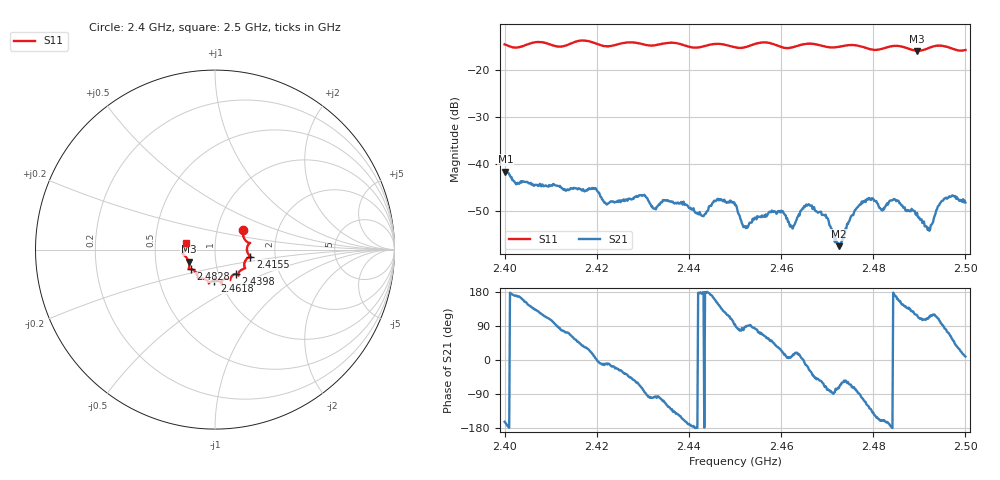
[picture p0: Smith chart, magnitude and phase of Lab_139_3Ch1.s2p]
# Hz S RI R 50
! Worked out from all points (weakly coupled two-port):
!   601 points, 2.4 GHz to 2.5 GHz, reference 50 ohm
!   highest |S21| = -41.61 dB at 2.4002 GHz (marker M1); lowest = -57.5 dB at 2.4725 GHz (marker M2)
!   lowest |S11| = -15.9 dB at 2.4895 GHz (marker M3), VSWR 1.38, Z = 37 - j5.04 ohm
!   |S11| at or under -10 dB: start of sweep to end of sweep
!   S12 and S22 are empty: the file has one direction only
!   S11 on the Smith chart (normalised r, x): 2.4 GHz: 1.33, +0.29; 2.4155 GHz: 1.49, -0.12; 2.4398 GHz: 1.21, -0.34; 2.4618 GHz: 0.94, -0.33; 2.4828 GHz: 0.74, -0.17; 2.5 GHz: 0.72, +0.06
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2.4e9  0.1548 0.1067  -0.0079 -0.00241  0 0  0 0
2.400167e9  0.1546 0.1043  -0.00804 -0.0021  0 0  0 0
2.4155e9  0.1975 -0.0396  0.00327 0.00442  0 0  0 0
2.416667e9  0.2022 -0.0429  0.00407 0.00335  0 0  0 0
2.433333e9  0.1301 -0.1342  -0.000394 -0.00359  0 0  0 0
2.439833e9  0.1153 -0.136  -0.00345 -0.000655  0 0  0 0
2.443e9  0.0888 -0.1547  -0.00279 6.68e-05  0 0  0 0
2.445833e9  0.0845 -0.1706  -0.00368 0.00164  0 0  0 0
2.45e9  0.065 -0.1626  -0.000248 0.00364  0 0  0 0
2.452167e9  0.043 -0.1699  9.05e-05 0.00216  0 0  0 0
2.458e9  0.0367 -0.1882  0.00203 0.00246  0 0  0 0
2.461833e9  -0.00354 -0.1724  0.00222 0.00029  0 0  0 0
2.466667e9  -0.0346 -0.1878  0.00297 -0.00205  0 0  0 0
2.469833e9  -0.0463 -0.171  0.000781 -0.00256  0 0  0 0
2.4725e9  -0.0756 -0.16  0.000351 -0.00128  0 0  0 0
2.477667e9  -0.098 -0.1475  -0.000748 -0.00376  0 0  0 0
2.482833e9  -0.136 -0.1085  -0.00355 -0.000966  0 0  0 0
2.483333e9  -0.1398 -0.1084  -0.00377 -0.000821  0 0  0 0
2.4895e9  -0.146 -0.0664  -0.00143 0.00266  0 0  0 0
2.492e9  -0.1682 -0.0344  -0.000723 0.00196  0 0  0 0
2.495333e9  -0.1794 -0.0182  0.000208 0.00423  0 0  0 0
2.5e9  -0.1593 0.0391  0.00384 0.000616  0 0  0 0
